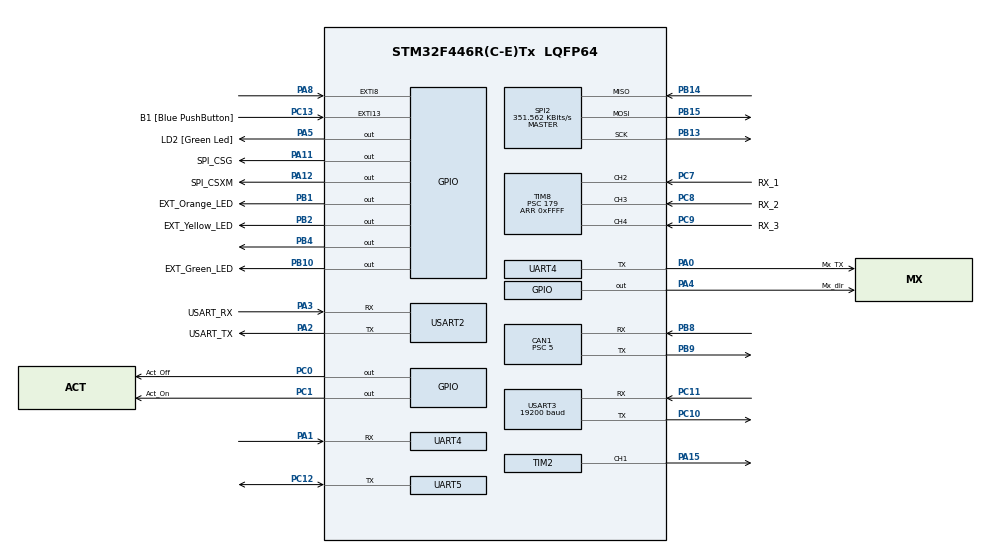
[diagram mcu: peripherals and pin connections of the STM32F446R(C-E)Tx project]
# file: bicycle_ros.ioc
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CAN1.ABOM=ENABLE
CAN1.BS1=CAN_BS1_6TQ
CAN1.BS2=CAN_BS2_2TQ
CAN1.CalculateBaudRate=1000000
CAN1.CalculateTimeBit=1000
CAN1.CalculateTimeQuantum=111.11111111111111
CAN1.NART=ENABLE
CAN1.Prescaler=5
Dma.Request0=USART3_TX
Dma.Request1=USART3_RX
Dma.Request2=USART2_RX
Dma.Request3=USART2_TX
Dma.USART2_RX.2.Direction=DMA_PERIPH_TO_MEMORY
Dma.USART2_RX.2.FIFOMode=DMA_FIFOMODE_DISABLE
Dma.USART2_RX.2.Instance=DMA1_Stream5
Dma.USART2_RX.2.MemDataAlignment=DMA_MDATAALIGN_BYTE
Dma.USART2_RX.2.MemInc=DMA_MINC_ENABLE
Dma.USART2_RX.2.Mode=DMA_NORMAL
Dma.USART2_RX.2.PeriphDataAlignment=DMA_PDATAALIGN_BYTE
Dma.USART2_RX.2.PeriphInc=DMA_PINC_DISABLE
Dma.USART2_RX.2.Priority=DMA_PRIORITY_HIGH
Dma.USART2_TX.3.Direction=DMA_MEMORY_TO_PERIPH
Dma.USART2_TX.3.FIFOMode=DMA_FIFOMODE_DISABLE
Dma.USART2_TX.3.Instance=DMA1_Stream6
Dma.USART2_TX.3.MemDataAlignment=DMA_MDATAALIGN_BYTE
Dma.USART2_TX.3.MemInc=DMA_MINC_ENABLE
Dma.USART2_TX.3.Mode=DMA_NORMAL
Dma.USART2_TX.3.PeriphDataAlignment=DMA_PDATAALIGN_BYTE
Dma.USART2_TX.3.PeriphInc=DMA_PINC_DISABLE
Dma.USART2_TX.3.Priority=DMA_PRIORITY_HIGH
Dma.USART3_RX.1.Direction=DMA_PERIPH_TO_MEMORY
Dma.USART3_RX.1.FIFOMode=DMA_FIFOMODE_DISABLE
Dma.USART3_RX.1.Instance=DMA1_Stream1
Dma.USART3_RX.1.MemDataAlignment=DMA_MDATAALIGN_BYTE
Dma.USART3_RX.1.MemInc=DMA_MINC_ENABLE
Dma.USART3_RX.1.Mode=DMA_CIRCULAR
Dma.USART3_RX.1.PeriphDataAlignment=DMA_PDATAALIGN_BYTE
Dma.USART3_RX.1.PeriphInc=DMA_PINC_DISABLE
Dma.USART3_RX.1.Priority=DMA_PRIORITY_LOW
Dma.USART3_TX.0.Direction=DMA_MEMORY_TO_PERIPH
Dma.USART3_TX.0.FIFOMode=DMA_FIFOMODE_DISABLE
Dma.USART3_TX.0.Instance=DMA1_Stream3
Dma.USART3_TX.0.MemDataAlignment=DMA_MDATAALIGN_BYTE
Dma.USART3_TX.0.MemInc=DMA_MINC_ENABLE
Dma.USART3_TX.0.Mode=DMA_NORMAL
Dma.USART3_TX.0.PeriphDataAlignment=DMA_PDATAALIGN_BYTE
Dma.USART3_TX.0.PeriphInc=DMA_PINC_DISABLE
Dma.USART3_TX.0.Priority=DMA_PRIORITY_LOW
Mcu.Family=STM32F4
Mcu.Name=STM32F446R(C-E)Tx
Mcu.Package=LQFP64
NVIC.CAN1_RX0_IRQn=true\:0\:0\:false\:false\:true\:true\:true\:true
NVIC.DMA1_Stream1_IRQn=true\:0\:0\:false\:false\:true\:false\:true\:true
NVIC.DMA1_Stream3_IRQn=true\:0\:0\:false\:false\:true\:false\:true\:true
NVIC.DMA1_Stream5_IRQn=true\:0\:0\:false\:false\:true\:false\:true\:true
NVIC.DMA1_Stream6_IRQn=true\:0\:0\:false\:false\:true\:false\:true\:true
NVIC.PriorityGroup=NVIC_PRIORITYGROUP_0
NVIC.TIM2_IRQn=true\:0\:0\:false\:false\:true\:true\:true\:true
NVIC.TIM4_IRQn=true\:0\:0\:false\:false\:true\:true\:true\:true
NVIC.TIM5_IRQn=true\:0\:0\:false\:false\:true\:true\:true\:true
NVIC.TIM8_CC_IRQn=true\:0\:0\:false\:false\:true\:true\:true\:true
NVIC.UART4_IRQn=true\:0\:0\:false\:false\:true\:true\:true\:true
NVIC.USART2_IRQn=true\:0\:0\:false\:false\:true\:true\:true\:true
NVIC.USART3_IRQn=true\:0\:0\:false\:false\:true\:true\:true\:true
PA0-WKUP.GPIO_Label=Mx_TX
PA0-WKUP.Mode=Asynchronous
PA0-WKUP.Signal=UART4_TX
PA1.Mode=Asynchronous
PA1.Signal=UART4_RX
PA11.GPIO_Label=SPI_CSG
PA11.Signal=GPIO_Output
PA12.GPIO_Label=SPI_CSXM
PA12.Signal=GPIO_Output
PA13.GPIO_Label=TMS
PA13.Mode=Serial_Wire
PA13.Signal=SYS_JTMS-SWDIO
PA14.GPIO_Label=TCK
PA14.Mode=Serial_Wire
PA14.Signal=SYS_JTCK-SWCLK
PA15.Signal=S_TIM2_CH1_ETR
PA2.GPIO_Label=USART_TX
PA2.GPIO_PuPd=GPIO_PULLUP
PA2.Mode=Asynchronous
PA2.Signal=USART2_TX
PA3.GPIO_Label=USART_RX
PA3.GPIO_PuPd=GPIO_PULLUP
PA3.Mode=Asynchronous
PA3.Signal=USART2_RX
PA4.GPIO_Label=Mx_dir
PA4.Signal=GPIO_Output
PA5.GPIO_Label=LD2 [Green Led]
PA5.Signal=GPIO_Output
PA8.Signal=GPXTI8
PB1.GPIO_Label=EXT_Orange_LED
PB1.Signal=GPIO_Output
PB10.GPIO_Label=EXT_Green_LED
PB10.Signal=GPIO_Output
PB13.GPIO_Speed=GPIO_SPEED_FREQ_LOW
PB13.Mode=Full_Duplex_Master
PB13.Signal=SPI2_SCK
PB14.GPIO_Speed=GPIO_SPEED_FREQ_LOW
PB14.Mode=Full_Duplex_Master
PB14.Signal=SPI2_MISO
PB15.GPIO_Speed=GPIO_SPEED_FREQ_LOW
PB15.Mode=Full_Duplex_Master
PB15.Signal=SPI2_MOSI
PB2.GPIO_Label=EXT_Yellow_LED
PB2.Signal=GPIO_Output
PB3.GPIO_Label=SWO
PB3.Signal=SYS_JTDO-SWO
PB4.Signal=GPIO_Output
PB8.GPIO_PuPd=GPIO_NOPULL
PB8.Mode=CAN_Activate
PB8.Signal=CAN1_RX
PB9.Mode=CAN_Activate
PB9.Signal=CAN1_TX
PC0.GPIO_Label=Act_Off
PC0.Signal=GPIO_Output
PC1.GPIO_Label=Act_On
PC1.Signal=GPIO_Output
PC10.GPIO_PuPd=GPIO_PULLUP
PC10.Mode=Asynchronous
PC10.Signal=USART3_TX
PC11.GPIO_PuPd=GPIO_PULLUP
PC11.Mode=Asynchronous
PC11.Signal=USART3_RX
PC12.GPIO_PuPd=GPIO_PULLUP
PC12.Mode=Half_duplex(single_wire_mode)
PC12.Signal=UART5_TX
PC13.GPIO_Label=B1 [Blue PushButton]
PC13.GPIO_ModeDefaultEXTI=GPIO_MODE_IT_FALLING
PC13.Signal=GPXTI13
PC14-OSC32_IN.Mode=LSE-External-Oscillator
PC14-OSC32_IN.Signal=RCC_OSC32_IN
PC15-OSC32_OUT.Mode=LSE-External-Oscillator
PC15-OSC32_OUT.Signal=RCC_OSC32_OUT
PC7.GPIO_Label=RX_1
PC7.GPIO_PuPd=GPIO_PULLUP
PC7.Signal=S_TIM8_CH2
PC8.GPIO_Label=RX_2
PC8.GPIO_PuPd=GPIO_PULLUP
PC8.Signal=S_TIM8_CH3
PC9.GPIO_Label=RX_3
PC9.GPIO_PuPd=GPIO_PULLUP
PC9.Signal=S_TIM8_CH4
PH0-OSC_IN.Mode=HSE-External-Clock-Source
PH0-OSC_IN.Signal=RCC_OSC_IN
PH1-OSC_OUT.Mode=HSE-External-Clock-Source
PH1-OSC_OUT.Signal=RCC_OSC_OUT
ProjectManager.HeapSize=0x200
ProjectManager.StackSize=0x400
ProjectManager.TargetToolchain=STM32CubeIDE
RCC.48MHZClocksFreq_Value=84000000
RCC.AHBFreq_Value=180000000
RCC.APB1CLKDivider=RCC_HCLK_DIV4
RCC.APB1Freq_Value=45000000
RCC.APB1TimFreq_Value=90000000
RCC.APB2CLKDivider=RCC_HCLK_DIV2
RCC.APB2Freq_Value=90000000
RCC.APB2TimFreq_Value=180000000
RCC.CortexFreq_Value=180000000
RCC.FLatency-AdvancedSettings=FLASH_LATENCY_5
RCC.HCLKFreq_Value=180000000
RCC.HSE_VALUE=8000000
RCC.HSI_VALUE=16000000
RCC.PLLM=8
RCC.PLLN=360
RCC.PLLSourceVirtual=RCC_PLLSOURCE_HSE
RCC.SYSCLKFreq_VALUE=180000000
RCC.SYSCLKSource=RCC_SYSCLKSOURCE_PLLCLK
RCC.USBFreq_Value=180000000
RCC.VCOOutputFreq_Value=360000000
SH.S_TIM2_CH1_ETR.0=TIM2_CH1,Output Compare1 CH1
SH.S_TIM8_CH2.0=TIM8_CH2,PWM_Input_2
SH.S_TIM8_CH3.0=TIM8_CH3,Input_Capture3_from_TI3
SH.S_TIM8_CH4.0=TIM8_CH4,Input_Capture4_from_TI4
SPI2.BaudRatePrescaler=SPI_BAUDRATEPRESCALER_128
SPI2.CLKPhase=SPI_PHASE_2EDGE
SPI2.CLKPolarity=SPI_POLARITY_HIGH
SPI2.CalculateBaudRate=351.562 KBits/s
SPI2.DataSize=SPI_DATASIZE_16BIT
SPI2.Direction=SPI_DIRECTION_2LINES
SPI2.Mode=SPI_MODE_MASTER
SPI2.VirtualType=VM_MASTER
TIM2.Channel-Output\ Compare1\ CH1=TIM_CHANNEL_1
TIM4.Period=60000
TIM4.Prescaler=13
TIM5.Channel-Output\ Compare1\ No\ Output=TIM_CHANNEL_1
TIM8.Channel-Input_Capture3_from_TI3=TIM_CHANNEL_3
TIM8.Channel-Input_Capture4_from_TI4=TIM_CHANNEL_4
TIM8.ICFilter_1=2
TIM8.ICFilter_2=2
TIM8.ICFilter_CH3=2
TIM8.ICFilter_CH4=2
TIM8.ICPolarity_1=TIM_INPUTCHANNELPOLARITY_FALLING
TIM8.ICPolarity_CH3=TIM_INPUTCHANNELPOLARITY_FALLING
TIM8.ICPolarity_CH4=TIM_INPUTCHANNELPOLARITY_FALLING
TIM8.Period=0xFFFF
TIM8.Prescaler=179
UART4.BaudRate=1000000
UART4.VirtualMode=Asynchronous
UART5.VirtualMode=Asynchronous
USART2.VirtualMode=VM_ASYNC
USART3.BaudRate=19200
USART3.VirtualMode=VM_ASYNC
VP_TIM4_VS_ClockSourceINT.Mode=Internal
VP_TIM5_VS_no_output1.Mode=Output Compare1 No Output
VP_TIM8_VS_ClockSourceINT.Mode=Internal
board=NUCLEO-F446RE

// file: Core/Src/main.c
/* USER CODE BEGIN Header */
/**
  ******************************************************************************
  * @file           : main.c
  * @brief          : Main program body
  ******************************************************************************
  * @attention
  *
  * Copyright (c) 2023 STMicroelectronics.
  * All rights reserved.
  *
  * This software is licensed under terms that can be found in the LICENSE file
  * in the root directory of this software component.
  * If no LICENSE file comes with this software, it is provided AS-IS.
  *
  ******************************************************************************
  */
/* USER CODE END Header */
#include "main.h"
#include "can.h"
#include "dma.h"
#include "spi.h"
#include "tim.h"
#include "usart.h"
#include "gpio.h"

/* USER CODE BEGIN Includes */
#include "mainpp.h"
#include <stdio.h>
#include "OpenIMU.h"
#include "sensor_fusion.h"
#include "MxMotor.h"
#include "dynamixel.h"
#include "controller.h"
#include "EKF.h"
#include "pure_pursuit.h"
#include "Tracking.h"
#include "LCD.h"
#include "can.h"
/* USER CODE END Includes */

/* USER CODE BEGIN PD */
#ifdef __GNUC__
  #define PUTCHAR_PROTOTYPE int __io_putchar(int ch)
#else
  #define PUTCHAR_PROTOTYPE int fputc(int ch, FILE *f)
#endif /* __GNUC__ */
/* USER CODE END PD */

/* USER CODE BEGIN PV */
int i = 0;

CAN_TxHeaderTypeDef TxMSG;
CAN_RxHeaderTypeDef RxMSG;
uint8_t TxData[8];
uint8_t RxData[8];
uint32_t TxMailbox;
float V_current;
uint8_t gpsdata[36];  // for details, read stm32f4xx_it.c usart3
uint8_t update_gps;
/* USER CODE END PV */

void SystemClock_Config(void);
/* USER CODE BEGIN PFP */
uint8_t check_sum(void);	// check the DMA GPS data checkSum
void EmergencyBrake(void);	// let the vehicle stop
/* USER CODE END PFP */

int main(void)
{

  /* MCU Configuration--------------------------------------------------------*/

  /* Reset of all peripherals, Initializes the Flash interface and the Systick. */
  HAL_Init();

  /* Configure the system clock */
  SystemClock_Config();

  /* USER CODE BEGIN SysInit */
  LL_Init1msTick(180000000);			//Add here to fix MX generated code
  LL_SYSTICK_SetClkSource(LL_SYSTICK_CLKSOURCE_HCLK);
  LL_SYSTICK_EnableIT();
  /* USER CODE END SysInit */

  /* Initialize all configured peripherals */
  MX_GPIO_Init();
  MX_DMA_Init();
  MX_CAN1_Init();
  MX_SPI2_Init();
  MX_TIM2_Init();
  MX_TIM5_Init();
  MX_TIM8_Init();
  MX_UART4_Init();
  MX_USART2_UART_Init();
  MX_USART3_UART_Init();
  MX_UART5_Init();
  MX_TIM4_Init();
  /* USER CODE BEGIN 2 */
#ifdef USE_ROS
  setup();
  HAL_TIM_Base_Start_IT(&htim4);
#endif

  // ========== INITIALIZE CAN =======================
  CAN_Filter_Init();
  TxMSG_Init(&TxMSG);
  if (HAL_CAN_Start(&hcan1) != HAL_OK) {
   while (1);
  }
  HAL_CAN_ActivateNotification(&hcan1, CAN_IT_RX_FIFO0_MSG_PENDING);

  // =========== INTERRUPT ENABLE ====================
  LL_USART_EnableIT_RXNE(UART4);
  LL_TIM_EnableIT_CC1(TIM2);
  LL_USART_EnableIT_RXNE(USART3);
  LL_TIM_CC_EnableChannel(TIM8,	TIM_CCER_CC1E | TIM_CCER_CC2E |
     TIM_CCER_CC3E | TIM_CCER_CC4E);	// Enable all PWM input port
  LL_TIM_EnableIT_CC1(TIM8);			// Enable PWM input capture interrupt
  LL_TIM_EnableCounter(TIM8);			// Start timer8 for PWM input capture
  LL_EXTI_EnableRisingTrig_0_31(LL_EXTI_LINE_8);
  LL_EXTI_EnableIT_0_31(LL_EXTI_LINE_8);

  // ============ GPS DMA SETUP =======================
  LL_DMA_SetPeriphAddress(DMA1, LL_DMA_STREAM_1, LL_USART_DMA_GetRegAddr(USART3));
  LL_DMA_SetMemoryAddress(DMA1, LL_DMA_STREAM_1, (uint32_t) gpsdata);
  LL_DMA_SetDataLength(DMA1, LL_DMA_STREAM_1, sizeof(gpsdata));

  // ============ HAL Time Interrupt Initialize =======
  uint32_t now = 0;
  uint32_t oldlog_time = 0;
  uint32_t oldfir_time = 0;
  uint32_t oldcan_time = 0;
  uint32_t olddebug_time = 0;
  uint32_t oldcol_time = 0;
  uint32_t oldekf_time = 0;
  uint32_t oldrmt_time = 0;
  uint32_t time_start = 0;				// to record back support down time
  uint32_t time_stop = 0;

  // ============ Flag Parameter Initialize ===========
  uint8_t vel_first_flag = 0;			// velocity > limit minimum velocity (1.5)
  uint8_t velocity_cmd_flag = 0;		// Remote on mean velocity > 0
  uint8_t check_flag = 0; 				// GPS check sum
  uint8_t turn_circle_flag = 0;			// tracking line or arc
  uint8_t tracking_first_flag = 0;		// to recoder the first shift time	//Remember
  uint8_t emergency_brake_flag = 0;		// Emergency Brake System
//
  // ============ Tracking Parameter Initialize =======
  float way_point_begin[2] = { 60.2217f, 8.9381f};	  // tracking begin way_point
  float way_point_end[2]   = { 10.06f, 32.6295f };    // tracking end way_point
  float circle_point[2]    = { 13.2039f, 39.2861f };  // if tracking trajectory is arc
  float radius = 7.3617f;					          // tracking trajectory arc radius
  float tracking_control[2] = { 0 };                  // tracking output (1):velocity (m/s) (2):omega (rad/s)
  float velocity_max = 2.4f;
  float velocity_min = 1.8f;
  float stateD[3] = { 0.0f };
  float imu_bias = 0;
  uint8_t line = 3;									  // tracking stage
  uint8_t stage = 8;
  uint32_t time_shift = 0;	                          // normalize time in tracking process each stage

  // ============= Remote Parameters ===============
  uint16_t RX1 = REMOTE_CENTER;
  uint16_t RX2 = REMOTE_CENTER;
  uint16_t RX3 = REMOTE_LOWER;

  // ============= CAN Parameters ==================
  float velocity_cmd = V_REF;

  // ============= IMU Parameters ==================
  float theta_x = 0.0f;
  float theta_y = 0.0f;
  float acc[3]  = { 0.0f, 0.0f, -GRAVITY };
  float gyro[3] = { 0.0f };
//
  // ============= Controller Parameters ===========
  float remote_control = 0.0f;
  float delta_goal     = 0.0f;

  // ============= EKF Parameters ==================
  float init_x = 79.5f;								//the vehicle initial point
  float init_y = -3.0f;
  float init_phi = 2.7f;
  float point_current[2] = { init_x, init_y };
  float gps_drift[2] = {0.0f};
  float horizontal_accuracy = 0.0f;
  float vertical_accuracy = 0.0f;
  float mu[4] = { init_x, init_y, init_phi, 0.0f }; // X Y Phi velocity

  // ============= LCD Parameters ==================
  uint8_t LCD_tx[17] = {0};

  // ============= MX Motor Initialization ========
#ifdef INIT_MX
  HAL_Delay(1000);							//wait init 1(second)
#if MXSPEEDCTRL == 0
  AngleLimit(MXUPPER_BOUND, MXLOWER_BOUND); // setup the Mx motor limit angle
//	PIDsetup(185,115,15);					// Mx motor setup PID gain
  Motor();									// so min control angle 0.088 degree
#endif
#if MXSPEEDCTRL == 1
  AngleLimit(0x00, 0x00);
  HAL_Delay(1000);
  dxl_write_word(MOTOR_ID, P_GOAL_SPEED_L, 0x00); // >0x400 is turn left
  printf("Hello this is Mx motor speed mode\r\n");
#endif
//	Torque_off();
#endif

  // ====== Lower Back Support Of Bicycle ========
#ifdef REMOTE_START
  LL_GPIO_ResetOutputPin(GPIOC, Act_Off_Pin);	// down
  LL_GPIO_SetOutputPin(GPIOC, Act_On_Pin);
#endif

  // ============= LCD Initialization ========
  HAL_HalfDuplex_EnableTransmitter(&huart5); 	// LCD display
  /* USER CODE END 2 */

  /* Infinite loop */
  /* USER CODE BEGIN WHILE */
  while (1)
  {

	// ================== Start CAN Logger And LCD ================
#ifdef CANLOG
	now = HAL_GetTick();
	uint16_t logdt = now - oldlog_time;
	if (logdt >= CANLOGSAMPLE) {
		oldlog_time = HAL_GetTick();
		float accuracy[2] = {vertical_accuracy, horizontal_accuracy};
		CanLogger(theta_x, theta_y, gyro, acc, mu, check_flag,
				remote_control, delta_goal, point_current, tracking_control,
				tracking_first_flag, stateD, accuracy); // need final test

		// ============ Pass LCD Data At Every Can Tick ============
#ifdef LCD
		LcdData(LCD_tx, mu, accuracy, point_current, V_current, theta_x, theta_y, tracking_first_flag);
		HAL_UART_Transmit(&huart5, LCD_tx, sizeof(LCD_tx), 2000);
#endif
	}
#endif

	// ====== Bicycle Starts When Remote Switch Is Flicked On ======
#ifdef VELOCITY
	now = HAL_GetTick();
	uint16_t firdt = now - oldfir_time;
	if (firdt > FIRSAMPLE && !(vel_first_flag)) {
		oldfir_time = HAL_GetTick();
		// ====== Receive Remote Switch Status At Every Tick =======
#ifdef REMOTE_START
		start_read(&RX1, &RX2, &RX3);
		if (RX3 >= REMOTE_UPPER * (1 - REMOTE_ERROR) && RX3 <= REMOTE_UPPER * (1 + REMOTE_ERROR)) {//if remote is on
			// Activates when the switch on the side is switched up! Turn the velocity_cmd_flag on
			velocity_cmd = V_REF;
			velocity_cmd_flag = 1;
		} else {
			velocity_cmd = 0.0f;
			velocity_cmd_flag = 0;
			// Estimate the IMU bias before bicycle starts to move
			estimator(theta_x, gyro[0], &imu_bias);
		}
#endif  // ======== Lift Back Support Of Bicycle At V_STD ==========
		if (V_current > V_STD) {
			vel_first_flag = 1;							//@TODO maybe need to check v0 > 1.5(m/s) if velocity have peak
			LL_GPIO_SetOutputPin(GPIOC, Act_Off_Pin);	//up
			LL_GPIO_SetOutputPin(GPIOC, Act_On_Pin);
		}
	}

	// ======= Transmit v_tmp Through CAN Bus To Rear Wheel ========
	now = HAL_GetTick();
	uint16_t candt = now - oldcan_time;
	if (candt >= CANSAMPLE) {
		oldcan_time = HAL_GetTick();
		now = HAL_GetTick();
		while (HAL_CAN_GetTxMailboxesFreeLevel(&hcan1) == 0) {  // have to wait because can message must transmit in time
			if ((HAL_GetTick() - now) > 4U) {
				break;
			}
		}
		float v_tmp = velocity_cmd;
		// ======= Disable Velocity Command In TESTEKF Mode ========
#if TESTEKF == 0
		if(tracking_first_flag){
			v_tmp = tracking_control[0];
			if (tracking_control[0] > velocity_max) v_tmp = velocity_max;
			if (tracking_control[0] < velocity_min) v_tmp = velocity_min;
		}
#endif
		if (HAL_CAN_GetTxMailboxesFreeLevel(&hcan1) != 0) {
			uint16_t v_cmd;
			v_cmd = v_tmp * CAN_TX_GAIN;
			TxData[1] = v_cmd >> 8U;
			TxData[0] = v_cmd;
			TxMSG.StdId = CAN_V_CMD_ID;
			HAL_CAN_AddTxMessage(&hcan1, &TxMSG, TxData, &TxMailbox);
		}
	}
#endif

	// ================= Read IMU Data Through SPI2 ==============
#ifdef USE_OPENIMU
	if (LL_EXTI_ReadFlag_0_31(LL_EXTI_LINE_8)) {  // Read IMU data when external interrupt triggered from IMU
		openIMU(&theta_x, acc, gyro, &theta_y);
		LL_EXTI_ClearFlag_0_31(LL_EXTI_LINE_8);
	}
#ifdef USE_TILTLED
	if (tracking_first_flag == 0){
		// light signal (shield LED)
		if (theta_x == 0 && theta_y == 0){                       	   // if no IMU data is received, make all three lights light up
			HAL_GPIO_WritePin(GPIOB, GPIO_PIN_1 ,GPIO_PIN_SET); 	   // Green LED (right)
			HAL_GPIO_WritePin(GPIOB, GPIO_PIN_2 ,GPIO_PIN_SET);  	   // Red   LED (middle)
			HAL_GPIO_WritePin(GPIOB, GPIO_PIN_10,GPIO_PIN_SET);  	   // Green LED (left)
		}
		else{
			double angle_margin = 0.02;
			if (theta_x > (0.0 + angle_margin)){                       // if the bicycle is about horizontal, light up the red LED
				HAL_GPIO_WritePin(GPIOB, GPIO_PIN_1 ,GPIO_PIN_RESET);  // Green LED
				HAL_GPIO_WritePin(GPIOB, GPIO_PIN_2 ,GPIO_PIN_SET);    // Red   LED
				HAL_GPIO_WritePin(GPIOB, GPIO_PIN_10,GPIO_PIN_RESET);  // Green LED
			}
			else if (theta_x < (0.0 - angle_margin)){                  // if the bicycle is tilted left (about x-axis), light up the left green LED
				HAL_GPIO_WritePin(GPIOB, GPIO_PIN_1 ,GPIO_PIN_RESET);  // Green LED
				HAL_GPIO_WritePin(GPIOB, GPIO_PIN_2 ,GPIO_PIN_RESET);  // Red   LED
				HAL_GPIO_WritePin(GPIOB, GPIO_PIN_10,GPIO_PIN_SET);    // Green LED
			}
			else{                                                      // if the bicycle is tilted right (about x-axis), light up the right green LED
				HAL_GPIO_WritePin(GPIOB, GPIO_PIN_1 ,GPIO_PIN_SET);    // Green LED
				HAL_GPIO_WritePin(GPIOB, GPIO_PIN_2 ,GPIO_PIN_RESET);  // Red   LED
				HAL_GPIO_WritePin(GPIOB, GPIO_PIN_10,GPIO_PIN_RESET);  // Green LED
			}
		}
	}
#endif
#endif

	// =============== Test Mode, Use V_REF As Velocity Command ============
	now = HAL_GetTick();
	uint16_t debugdt = now - olddebug_time;
	if (debugdt >= 1000) {	// a soft interrupt, acting every 1 second
		olddebug_time = HAL_GetTick();
		start_read(&RX1, &RX2, &RX3);
		// for live expression remote control debugging
		// RX1, Controller wheel   (CCW  -> decrease; CW -> increase)
		// RX2, Controller trigger (Down -> decrease; Up -> increase)
		// RX3, Controller switch  (Down -> off     ; Up -> on)
#if TESTEKF == 1
		if (RX2 <= REMOTE_LOWER * (1 + REMOTE_ERROR) && RX2 >= (1 - REMOTE_ERROR) * REMOTE_LOWER) {
			// Pull down the trigger to lift the back support up
			LL_GPIO_SetOutputPin(GPIOC, Act_Off_Pin);
			LL_GPIO_SetOutputPin(GPIOC, Act_On_Pin);
		}else{
			if(velocity_cmd_flag) velocity_cmd = V_REF;
		}
#endif
		// Stop bicycle by pulling up the controller trigger
		if (RX2 <= REMOTE_UPPER * (1 + REMOTE_ERROR) && RX2 >= REMOTE_UPPER * (1 - REMOTE_ERROR)) emergency_brake_flag = 1;
		if(emergency_brake_flag) EmergencyBrake();
	}

	// ============================== EKF Mode ==============================
#ifdef EKF
	now = HAL_GetTick();
	uint16_t ekfdt = now - oldekf_time;
	if (ekfdt >= EKFSAMPLE) {
		oldekf_time = HAL_GetTick();

		// =============== Obtain And Process GPS information =================
		LL_GPIO_TogglePin(GPIOA, LL_GPIO_PIN_12);
		if(update_gps && velocity_cmd_flag){        // First check if the GPS data is correct
			check_flag = check_sum();
			if (check_flag != 3) {
				update_gps = 0;						// if check sum error (not equal to 3), don't update GPS
			}
		}
		if (update_gps) {							// Process the "correct" GPS data
			double lat_current;
			double lon_current;
			readGPS(&lat_current, &lon_current);
			gpsXY(lat_current, lon_current, point_current);
			ReadAccuracyEstimate(&horizontal_accuracy,&vertical_accuracy);
		}
		if (velocity_cmd_flag) {					// "velocity_cmd_flag":= The bicycle is moving
			if(update_gps){
				point_current[0] = point_current[0] + gps_drift[0];
				point_current[1] = point_current[1] + gps_drift[1];
			}
			// ========== Perform The EKF Algorithm For Localization ===========
			EKF_filter(mu, theta_x, acc, gyro, point_current, V_current, theta_y, horizontal_accuracy);
			} else {
			gps_drift[0] = init_x - point_current[0];  // Seems like the distance difference instead of drift?
			gps_drift[1] = init_y - point_current[1];
		}

		// ============= Tracking Mode According To "tracking_first_flag" ======
		if (tracking_first_flag == 0) {
			float vehicle_vector[2] = { mu[0] - way_point_begin[0], mu[1] - way_point_begin[1] };
			float line_vector[2] = { way_point_end[0] - way_point_begin[0], way_point_end[1] - way_point_begin[1] };	// point for free just check the vehicle is exceed begin way_point or not
			float cross_dot = vehicle_vector[0] * line_vector[0] + vehicle_vector[1] * line_vector[1];

			if (cross_dot > 0) {	// mean the vehicle exceed begin way_point, start "tracking"
				time_shift = HAL_GetTick();
				tracking_first_flag = 1;
			}
		} else{
			// ===================== Enter Tracking Mode =======================
			Mapping(way_point_begin, way_point_end, circle_point, &radius, &turn_circle_flag, line);
			Tracking(mu, way_point_begin, way_point_end, circle_point, radius, turn_circle_flag, &line, &time_shift, tracking_control, stateD);
#ifdef USE_TILTLED
			if (theta_x == 0 && theta_y == 0){                      			// if no IMU data is received, make all three lights light up
				HAL_GPIO_WritePin(GPIOB, GPIO_PIN_1 ,GPIO_PIN_RESET); 			// Green LED (right)
				HAL_GPIO_WritePin(GPIOB, GPIO_PIN_2 ,GPIO_PIN_RESET); 			// Red   LED (middle)
				HAL_GPIO_WritePin(GPIOB, GPIO_PIN_10,GPIO_PIN_RESET);  			// Green LED (left)
			}
			else{
				double angle_margin = 0.02;
				if (theta_x > (0.0 + angle_margin)){                       		// if the bicycle is about horizontal, light up the red LED
					HAL_GPIO_WritePin(GPIOB, GPIO_PIN_1 ,GPIO_PIN_SET);  		// Green LED
					HAL_GPIO_WritePin(GPIOB, GPIO_PIN_2 ,GPIO_PIN_RESET);   	// Red   LED
					HAL_GPIO_WritePin(GPIOB, GPIO_PIN_10,GPIO_PIN_SET);  		// Green LED
				}
				else if (theta_x < (0.0 - angle_margin)){                  		// if the bicycle is tilted left (about x-axis), light up the left green LED
					HAL_GPIO_WritePin(GPIOB, GPIO_PIN_1 ,GPIO_PIN_SET);  		// Green LED
					HAL_GPIO_WritePin(GPIOB, GPIO_PIN_2 ,GPIO_PIN_SET);  		// Red   LED
					HAL_GPIO_WritePin(GPIOB, GPIO_PIN_10,GPIO_PIN_RESET);    	// Green LED
				}
				else{                                                      		// if the bicycle is tilted right (about x-axis), light up the right green LED
					HAL_GPIO_WritePin(GPIOB, GPIO_PIN_1 ,GPIO_PIN_RESET);    	// Green LED
					HAL_GPIO_WritePin(GPIOB, GPIO_PIN_2 ,GPIO_PIN_SET);  		// Red   LED
					HAL_GPIO_WritePin(GPIOB, GPIO_PIN_10,GPIO_PIN_SET);  		// Green LED
				}
			}
#endif
		}
		// ============ Finished One Lap (path: 4 curves 4 lines) ============
		if (line > stage) {	//eight stage
			line = 1;
		}
	}
#endif

	// ================ EKF Mode, Pass current velocity to EKF ===============
#ifndef EKF
	mu[3] = V_current;  // Seems unnecessary?
#endif

	// ================ Bicycle Control ======================================
#ifdef CONTROL
	now = HAL_GetTick();
	uint16_t coldt = now - oldcol_time;
	if (coldt >= COLSAMPLE && vel_first_flag) {
		oldcol_time = HAL_GetTick();
#if MXSPEEDCTRL == 0
		float disx = powf(mu[0] - stateD[0], 2);  // Distance between "current state" and "tracking virtual state"
		float disy = powf(mu[1] - stateD[1], 2);
		float dis_mu2state = sqrtf(disx + disy);
		uint8_t dis_flag = dis_mu2state > 0.5f ? 1 : 0;
		dis_flag = line == 3 ? dis_flag : 0;
//		PDControl(theta_x, gyro[0], tracking_control[1], &remote_control, &delta_goal,dis_flag, imu_bias);
//		LMI(theta_x, gyro[0], tracking_control[1], &remote_control, &delta_goal, mu[3]);
//		LMI(theta_x, gyro[0], tracking_control[1], &remote_control, &delta_goal, V_current);
		LMII(theta_x, gyro[0], tracking_control[0], tracking_control[1], &remote_control, &delta_goal, V_current,dis_flag, imu_bias);
#endif
#if MXSPEEDCTRL == 1
		float disx = powf(mu[0] - stateD[0], 2);
		float disy = powf(mu[1] - stateD[1], 2);
		float dis_mu2state = sqrtf(disx + disy);
		uint8_t dis_flag = dis_mu2state > 0.5f ? 1 : 0;
		dis_flag = line == 3 ? dis_flag : 0;
		PDControl(theta_x, gyro[0], tracking_control[1], &remote_control, &delta_goal,dis_flag);
		controldesign(theta_x, gyro[0], tracking_control[1], &remote_control, &delta_goal, mu[3]);
#endif
	}
#endif

	// ================== Remote Controlled Break ============================
#ifdef REMOTE_STOP
	now = HAL_GetTick();
	uint16_t rmtdt = now - oldrmt_time;
	if ((rmtdt >= REMOTESAMPLE) && (vel_first_flag)) {
		oldrmt_time = HAL_GetTick();
		start_read(&RX1, &RX2, &RX3);
		// ============== Situation Where The Remote Is Switched Off =========
		if (RX3 <= REMOTE_LOWER * (1 + REMOTE_ERROR) && RX3 >= REMOTE_LOWER * (1 - REMOTE_ERROR)) {
			// ========== Lower back support ==================================
			LL_GPIO_ResetOutputPin(GPIOC, Act_Off_Pin);	//down
			LL_GPIO_SetOutputPin(GPIOC, Act_On_Pin);

			// ========== Count down time till back support is fully lowered, then stop the vehicle
			if (time_start == 0) {
				time_start = HAL_GetTick();
			} else {
				time_stop = HAL_GetTick();
				uint16_t cntdt = time_stop - time_start;
				if (cntdt > BACKSUPTIME) {		// to calculate 18 second
					emergency_brake_flag = 1;
				}
			}
		}
	}
#endif
    /* USER CODE END WHILE */

  }
}

void SystemClock_Config(void)
{
  LL_FLASH_SetLatency(LL_FLASH_LATENCY_5);
  while(LL_FLASH_GetLatency()!= LL_FLASH_LATENCY_5)
  {
  }
  LL_PWR_SetRegulVoltageScaling(LL_PWR_REGU_VOLTAGE_SCALE1);
  LL_PWR_EnableOverDriveMode();
  LL_RCC_HSE_EnableBypass();
  LL_RCC_HSE_Enable();

   /* Wait till HSE is ready */
  while(LL_RCC_HSE_IsReady() != 1)
  {

  }
  LL_RCC_PLL_ConfigDomain_SYS(LL_RCC_PLLSOURCE_HSE, LL_RCC_PLLM_DIV_8, 360, LL_RCC_PLLP_DIV_2);
  LL_RCC_PLL_Enable();

   /* Wait till PLL is ready */
  while(LL_RCC_PLL_IsReady() != 1)
  {

  }
  LL_RCC_SetAHBPrescaler(LL_RCC_SYSCLK_DIV_1);
  LL_RCC_SetAPB1Prescaler(LL_RCC_APB1_DIV_4);
  LL_RCC_SetAPB2Prescaler(LL_RCC_APB2_DIV_2);
  LL_RCC_SetSysClkSource(LL_RCC_SYS_CLKSOURCE_PLL);

   /* Wait till System clock is ready */
  while(LL_RCC_GetSysClkSource() != LL_RCC_SYS_CLKSOURCE_STATUS_PLL)
  {

  }
  LL_SetSystemCoreClock(180000000);

   /* Update the time base */
  if (HAL_InitTick (TICK_INT_PRIORITY) != HAL_OK)
  {
    Error_Handler();
  }
  LL_RCC_SetTIMPrescaler(LL_RCC_TIM_PRESCALER_TWICE);
}

/* USER CODE BEGIN 4 */
int _write(int file, char *ptr, int len) {
	int DataIdx;
	for (DataIdx = 0; DataIdx < len; DataIdx++) {
		LL_USART_TransmitData8(USART2, (uint8_t) *ptr++);
		while (LL_USART_IsActiveFlag_TXE(USART2) == RESET)
			;
	}
	return len;
}

void start_read(uint16_t *RX1, uint16_t *RX2, uint16_t *RX3) {
	*RX1 = LL_TIM_IC_GetCaptureCH1(TIM8);
	*RX2 = LL_TIM_IC_GetCaptureCH3(TIM8);
	*RX3 = LL_TIM_IC_GetCaptureCH4(TIM8);	// *this is correct to read CH3
}

uint8_t check_sum() {	//checkSum A OK is one , checkSum B OK is two , if all OK return three
	uint8_t flag = 0;
	uint8_t CK_A = 0;
	uint8_t CK_B = 0;
	for (int i = 2; i < sizeof(gpsdata) - 2; i++) {
		CK_A = CK_A + gpsdata[i];
		CK_B = CK_B + CK_A;
	}
	if (CK_A == gpsdata[sizeof(gpsdata) - 2]) {
		flag = 2;
	}
	if (CK_B == gpsdata[sizeof(gpsdata) - 1]) {
		flag++;
	}
	return flag;
}

void EmergencyBrake(void){	// make vehicle stop and shut down system

	float velocity_cmd_stop =0.1f; // the FOC v_cmd 0-m/s is 0 Torque

	uint32_t now = 0;
	now = HAL_GetTick();
	while (HAL_CAN_GetTxMailboxesFreeLevel(&hcan1) == 0) {// have to wait because can message must transmit in time
		if ((HAL_GetTick() - now) > 4U) {
			break;
		}
	}
	if (HAL_CAN_GetTxMailboxesFreeLevel(&hcan1) != 0) {
		uint16_t v_cmd;
		v_cmd = velocity_cmd_stop * CAN_TX_GAIN;
		TxData[1] = v_cmd >> 8U;
		TxData[0] = v_cmd;
		TxMSG.StdId = CAN_V_CMD_ID;
		HAL_CAN_AddTxMessage(&hcan1, &TxMSG, TxData, &TxMailbox);
	}
	HAL_Delay(15000);	// let the vehicle stop and receive nothing command
}

#ifdef USE_ROS
void HAL_TIM_PeriodElapsedCallback(TIM_HandleTypeDef *htim)
{
    if (htim->Instance == htim4.Instance)
    {
    	i ++;
    	int a = i%120;
    	loop(&a);
    	HAL_GPIO_TogglePin(GPIOA, GPIO_PIN_9);
    }
}
#endif
/* USER CODE END 4 */

void Error_Handler(void)
{
  __disable_irq();
  while (1)
  {
  }
}
